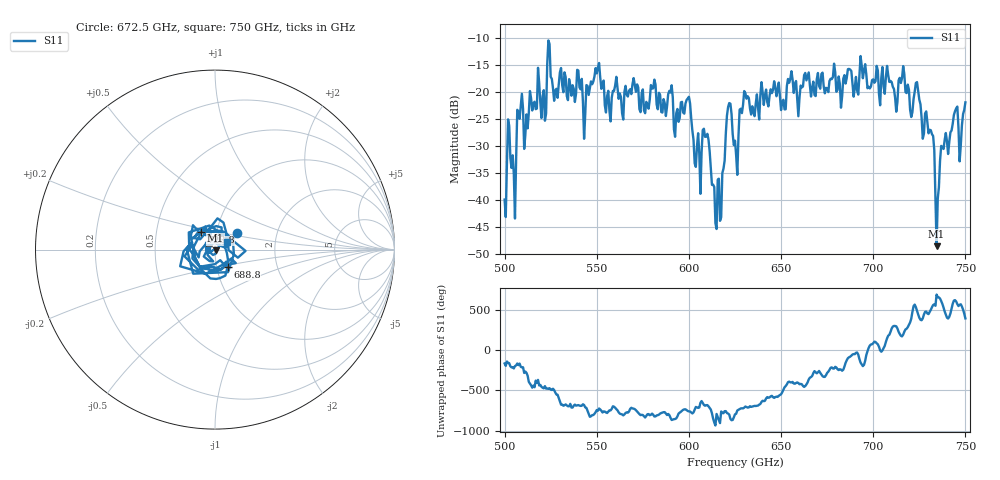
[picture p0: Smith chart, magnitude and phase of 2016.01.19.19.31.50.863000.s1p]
!Created with skrf (http://scikit-rf.org).
# GHz S RI R 50.0
!freq ReS11 ImS11
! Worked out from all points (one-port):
!   401 points, 500 GHz to 750 GHz, reference 50 ohm
!   lowest |S11| = -48.5 dB at 734.4 GHz (marker M1), VSWR 1.01, Z = 50.3 - j0.185 ohm
!   |S11| at or under -10 dB: start of sweep to end of sweep
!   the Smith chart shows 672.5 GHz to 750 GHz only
!   S11 on the Smith chart (normalised r, x): 672.5 GHz: 1.25, +0.23; 688.8 GHz: 1.13, -0.22; 723.8 GHz: 0.84, +0.17; 750 GHz: 1.14, +0.10
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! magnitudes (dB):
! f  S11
! 500 GHz  -39.9
! 502.5 GHz  -26.3
! 505 GHz  -35.2
! 508.1 GHz  -24.9
! 521.2 GHz  -19.7
! 524.4 GHz  -11.1
! 527.5 GHz  -19.7
! 531.2 GHz  -18.7
! 562.5 GHz  -20.3
! 580.6 GHz  -19.3
! 593.8 GHz  -23.1
! 599.4 GHz  -21.2
! 605 GHz  -27.6
! 609.4 GHz  -28.3
! 615.6 GHz  -36.2
! 621.9 GHz  -22.0
! 625 GHz  -29.0
! 630.6 GHz  -20.2
! 656.2 GHz  -17.7
! 672.5 GHz  -16.4
! 687.5 GHz  -15.8
! 688.8 GHz  -18.5
! 718.8 GHz  -18.6
! 723.8 GHz  -18.2
! 731.9 GHz  -27.8
! 734.4 GHz  -48.5
! 738.1 GHz  -30.5
! 750 GHz  -21.9
